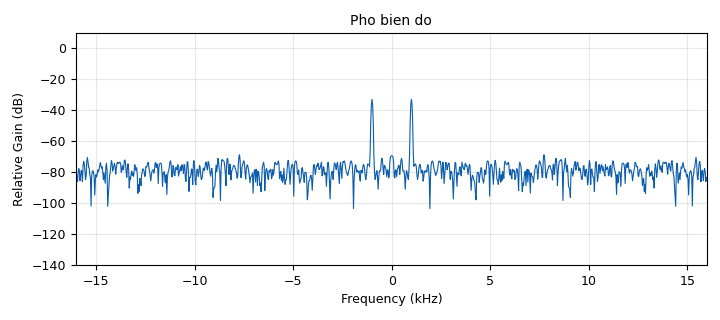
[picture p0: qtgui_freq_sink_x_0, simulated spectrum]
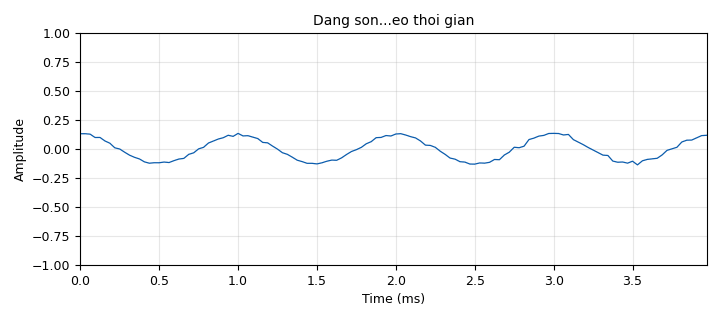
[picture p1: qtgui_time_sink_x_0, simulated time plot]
options:
  parameters:
    generate_options: qt_gui
    id: Bai9
    output_language: python
    title: Not titled yet
  states: {}

blocks:
- name: samp_rate
  id: variable
  parameters:
    value: '32000'
  states: {}
- name: analog_sig_source_x_0
  id: analog_sig_source_x
  parameters:
    amp: '1'
    freq: '1000'
    offset: '0'
    phase: '0'
    samp_rate: samp_rate
    type: float
    waveform: analog.GR_COS_WAVE
  states: {}
- name: blocks_throttle2_0
  id: blocks_throttle2
  parameters:
    samples_per_second: samp_rate
    type: float
  states: {}
- name: epy_block_0
  id: epy_block
  parameters:
    _source_code: |-
      """
      Embedded Python Blocks:

      Each time this file is saved, GRC will instantiate the first class it finds
      to get ports and parameters of your block. The arguments to __init__  will
      be the parameters. All of them are required to have default values!
      """

      import numpy as np
      from gnuradio import gr

      class Channel(gr.sync_block):
          """
          Khoi mo phong kenh truyen:
          - Suy hao bien do theo khoang cach: h = 1.0 / distance
          - Cong them nhieu trang Gauss (AWGN) theo chi so snr_db
          """
          def __init__(self, distance=1.0, frequency=2.4e9, snr_db=30.0):
              gr.sync_block.__init__(
                  self,
                  name='Channel',
                  in_sig=[np.float32],    # Dau vao Float
                  out_sig=[np.float32]    # Dau ra Float
              )
              self.distance = float(distance)
              self.frequency = float(frequency)
              self.snr_db = float(snr_db)

          def work(self, input_items, output_items):
              in0 = input_items[0]
              out = output_items[0]

              # 1. Tinh suy hao bien do theo khoang cach (d cang lon thi bien do cang giam)
              # He so suy hao bien do: h = 1.0 / distance
              attenuation = 1.0 / max(self.distance, 1e-6)
              attenuated_signal = in0 * attenuation

              # 2. Tinh toan va cong them nhieu trang Gauss (AWGN)
              sig_power = np.mean(attenuated_signal**2)
              if sig_power > 1e-12:
                  snr_linear = 10.0 ** (self.snr_db / 10.0)
                  noise_power = sig_power / snr_linear
                  noise = np.random.normal(0.0, np.sqrt(noise_power), len(in0)).astype(np.float32)
              else:
                  noise = 0.0

              out[:] = attenuated_signal + noise
              return len(out)
    distance: '8'
    frequency: '2400000000'
    snr_db: '20'
  states: {}
- name: qtgui_freq_sink_x_0
  id: qtgui_freq_sink_x
  parameters:
    bw: samp_rate
    fc: '0'
    fftsize: '1024'
    name: '"Pho bien do"'
    type: float
  states: {}
- name: qtgui_time_sink_x_0
  id: qtgui_time_sink_x
  parameters:
    name: '"Dang son...eo thoi gian"'
    size: '128'
    srate: samp_rate
    type: float
  states: {}

connections:
- [analog_sig_source_x_0, '0', blocks_throttle2_0, '0']
- [blocks_throttle2_0, '0', epy_block_0, '0']
- [epy_block_0, '0', qtgui_freq_sink_x_0, '0']
- [epy_block_0, '0', qtgui_time_sink_x_0, '0']

metadata:
  file_format: 1
  grc_version: 3.10.12.0
